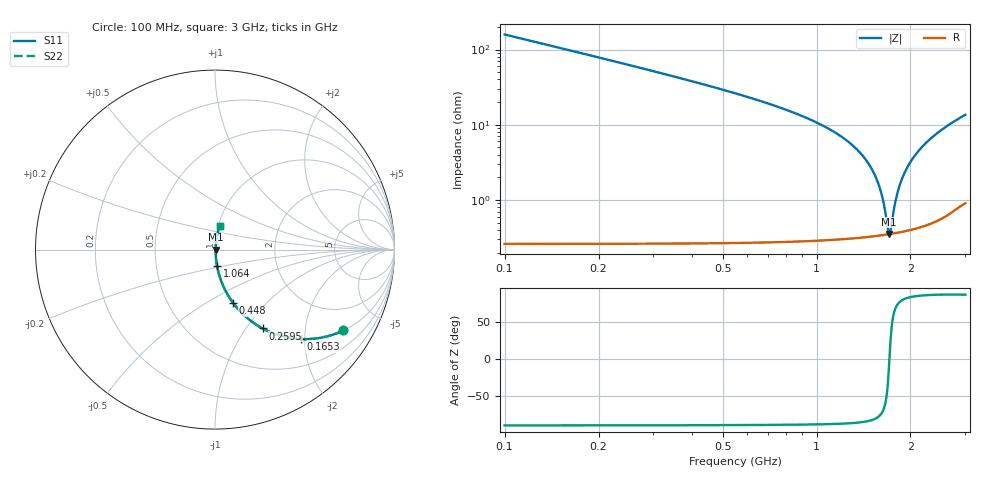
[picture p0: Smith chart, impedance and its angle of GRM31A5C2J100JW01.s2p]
!Murata Part Number: GRM31A5C2J100JW01
!These Parameters are Measured in Series Mode Connection
!Data Generated on Mar 30, 2021
!  o--ll--o
!Port1  Port2
!  o------o
!Operation Temp=25[degC], DC Bias Voltage=0[V]
!Freq. Start=100[MHz] Stop=3[GHz] 401[Steps]
# Hz S RI R 50
!Freq.(Hz) S11(Real) S11(Imag) S21(Real) S21(Imag) S12(Real) S12(Imag) S22(Real) S22(Imag)
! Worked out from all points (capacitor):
!   401 points, 100 MHz to 3 GHz, reference 50 ohm
!   read as one part in series: C = 9.99 pF near 114.5 MHz
!   lowest |Z| = 353 mohm at 1.71 GHz (marker M1)
!   series resonance near 1.712 GHz, so ESL is about 860 pH
!   S11 on the Smith chart (normalised r, x): 100 MHz: 1.01, -3.17; 165.2 MHz: 1.01, -1.91; 259.5 MHz: 1.01, -1.20; 448 MHz: 1.01, -0.66; 1.064 GHz: 1.01, -0.19; 3 GHz: 1.02, +0.27
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1e8  0.7153 -0.4504  0.2847 0.4504  0.2847 0.4504  0.7153 -0.4504
1.6525e8  0.4769 -0.4981  0.5231 0.4981  0.5231 0.4981  0.4769 -0.4981
2.595e8  0.2657 -0.4395  0.7343 0.4395  0.7343 0.4395  0.2657 -0.4395
3.3925e8  0.171 -0.3736  0.829 0.3736  0.829 0.3736  0.171 -0.3736
4.48e8  0.1014 -0.2979  0.8986 0.2979  0.8986 0.2979  0.1014 -0.2979
5.8575e8  0.0575 -0.2272  0.9425 0.2272  0.9425 0.2272  0.0575 -0.2272
1.06425e9  0.0116 -0.0928  0.9884 0.0928  0.9884 0.0928  0.0116 -0.0928
1.0715e9  0.0114 -0.0914  0.9886 0.0914  0.9886 0.0914  0.0114 -0.0914
1.36875e9  0.00502 -0.0434  0.995 0.0434  0.995 0.0434  0.00502 -0.0434
1.47025e9  0.0041 -0.0297  0.9959 0.0297  0.9959 0.0297  0.0041 -0.0297
1.55e9  0.00368 -0.0195  0.9963 0.0195  0.9963 0.0195  0.00368 -0.0195
1.6225e9  0.0035 -0.0106  0.9965 0.0106  0.9965 0.0106  0.0035 -0.0106
1.695e9  0.00348 -0.00202  0.9965 0.00202  0.9965 0.00202  0.00348 -0.00202
1.7095e9  0.0035 -0.000339  0.9965 0.000339  0.9965 0.000339  0.0035 -0.000339
1.73125e9  0.00353 0.00216  0.9965 -0.00216  0.9965 -0.00216  0.00353 0.00216
1.7965e9  0.00371 0.00953  0.9963 -0.00953  0.9963 -0.00953  0.00371 0.00953
1.84725e9  0.00393 0.0151  0.9961 -0.0151  0.9961 -0.0151  0.00393 0.0151
1.927e9  0.0044 0.0238  0.9956 -0.0238  0.9956 -0.0238  0.0044 0.0238
2.03575e9  0.00529 0.0353  0.9947 -0.0353  0.9947 -0.0353  0.00529 0.0353
2.23875e9  0.00771 0.0561  0.9923 -0.0561  0.9923 -0.0561  0.00771 0.0561
2.5215e9  0.0128 0.0843  0.9872 -0.0843  0.9872 -0.0843  0.0128 0.0843
3e9  0.0265 0.1307  0.9735 -0.1307  0.9735 -0.1307  0.0265 0.1307
